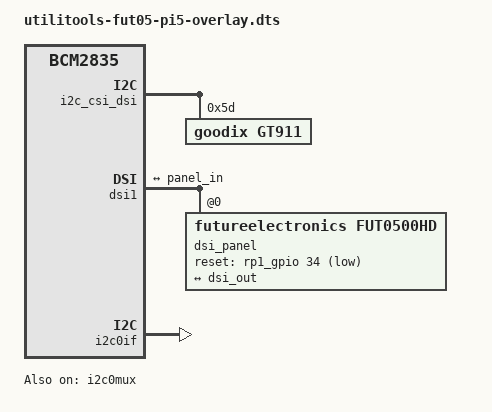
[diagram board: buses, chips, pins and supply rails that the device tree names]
/*
 * vc4-kms-dsi-ili9881-5inch-overlay.dts
 */

/dts-v1/;
/plugin/;

#include <dt-bindings/gpio/gpio.h>

/ {
	compatible = "brcm,bcm2835";

	i2c_frag: fragment@0 {
		target = <&i2c_csi_dsi>;
		__overlay__ {
			#address-cells = <1>;
			#size-cells = <0>;
			status = "okay";

			gt911: gt911@5d {
				compatible = "goodix,gt911";
				reg = <0x5d>;
				touchscreen-size-x = <720>;
				touchscreen-size-y = <1280>;
				touchscreen-x-mm = <62>;
				touchscreen-y-mm = <110>;
			};
		};
	};

	dsi_frag: fragment@1 {
		target = <&dsi1>;
		__overlay__  {
			#address-cells = <1>;
			#size-cells = <0>;
			status = "okay";

			port {
				dsi_out: endpoint {
					remote-endpoint = <&panel_in>;
				};
			};

			dsi_panel: dsi_panel@0 {
				reg = <0>;
				compatible = "futureelectronics,fut0500hd";
				reset-gpio = <&rp1_gpio 34 GPIO_ACTIVE_LOW>;

				port {
					panel_in: endpoint {
						remote-endpoint = <&dsi_out>;
					};
				};
			};
		};
	};

	fragment@2 {
		target = <&i2c0if>;
		__overlay__ {
			status = "okay";
		};
	};

	fragment@3 {
		target = <&i2c0mux>;
		__overlay__ {
			status = "okay";
		};
	};

	fragment@4 {
		target = <&cam0_reg>;
		__overlay__ {
			status = "disabled";
		};
	};

	fragment@10 {
		target = <&gt911>;
		__dormant__ {
			touchscreen-inverted-x;
		};
	};

	fragment@11 {
		target = <&gt911>;
		__dormant__ {
			touchscreen-inverted-y;
		};
	};

	__overrides__ {
		dsi0 = <&dsi_frag>, "target:0=",<&dsi0>,
		       <&i2c_frag>, "target:0=",<&i2c_csi_dsi0>;
		sizex = <&gt911>,"touchscreen-size-x:0";
		sizey = <&gt911>,"touchscreen-size-y:0";
		invx = <0>, "+10";
		invy = <0>, "+11";
		swapxy = <&gt911>,"touchscreen-swapped-x-y?";
		disable_touch = <&gt911>, "status=disabled";
	};
};
